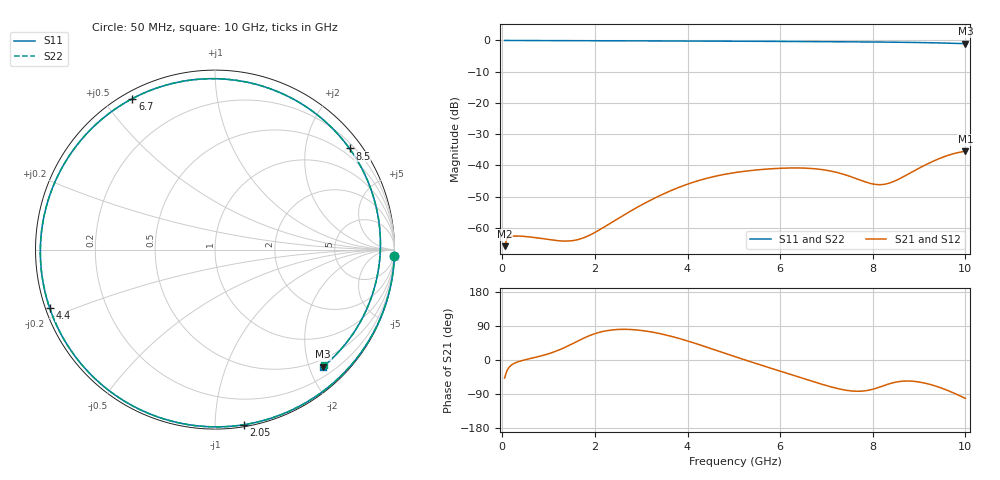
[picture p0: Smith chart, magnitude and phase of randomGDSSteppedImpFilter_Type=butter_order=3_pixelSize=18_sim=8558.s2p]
! freq	dB(S11)	phase(S11)	dB(S12)	phase(S12)
!  dB(S21)	phase(S21)	dB(S22)	phase(S22)
!S-par simulation data
#  GHz  S  DB  R 50
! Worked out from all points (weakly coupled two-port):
!   200 points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, 50 MHz to 10 GHz, reference 50 ohm
!   highest |S21| = -35.48 dB at 10 GHz (marker M1); lowest = -65.8 dB at 50 MHz (marker M2)
!   lowest |S11| = -1.0 dB at 10 GHz (marker M3), VSWR 16.81, Z = 18.2 - j112 ohm
!   |S11| at or under -10 dB: nowhere
!   |S22| runs from -1.0 to 0.0 dB; largest |S21 - S12| = 0
!   S11 on the Smith chart (normalised r, x): 50 MHz: 0, -55; 2.05 GHz: 0.01, -1.18; 4.4 GHz: 0.01, -0.17; 6.7 GHz: 0.03, +0.59; 8.5 GHz: 0.32, +2.96; 10 GHz: 0.36, -2.24
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0.05  -0.00 -2.1  -65.85 -47.6  -65.85 -47.6  -0.00 -2.1
0.1  -0.00 -4.1  -63.52 -28.0  -63.52 -28.0  -0.00 -4.1
0.25  -0.00 -10.3  -62.62 -9.3  -62.62 -9.3  -0.01 -10.3
1.05  -0.05 -42.6  -63.83 18.5  -63.83 18.5  -0.05 -42.6
1.45  -0.07 -58.2  -64.18 39.0  -64.18 39.0  -0.07 -58.2
1.75  -0.09 -69.6  -63.19 57.2  -63.19 57.2  -0.09 -69.6
2.05  -0.10 -80.7  -61.04 71.4  -61.04 71.4  -0.10 -80.7
2.7  -0.12 -103.8  -55.22 80.8  -55.22 80.8  -0.12 -103.8
3.4  -0.15 -127.6  -49.68 69.7  -49.68 69.7  -0.15 -127.6
4.4  -0.20 -160.4  -44.18 34.5  -44.18 34.5  -0.20 -160.4
5.05  -0.24 178.1  -42.24 7.9  -42.24 7.9  -0.24 178.2
5.85  -0.30 150.5  -41.03 -23.6  -41.03 -23.6  -0.30 150.7
6.7  -0.36 118.7  -41.01 -56.5  -41.01 -56.5  -0.36 118.8
7.15  -0.40 100.2  -41.98 -72.6  -41.98 -72.6  -0.40 100.5
7.55  -0.44 82.8  -43.73 -81.8  -43.73 -81.8  -0.44 83.0
8.05  -0.50 59.4  -46.06 -75.4  -46.06 -75.4  -0.50 59.8
8.35  -0.54 44.6  -45.69 -63.0  -45.69 -63.0  -0.54 45.0
8.5  -0.56 36.9  -44.82 -58.3  -44.82 -58.3  -0.56 37.4
8.9  -0.64 15.8  -41.68 -56.4  -41.68 -56.4  -0.64 16.4
9.25  -0.73 -3.4  -39.03 -64.9  -39.03 -64.9  -0.73 -2.9
9.6  -0.85 -23.4  -36.91 -79.5  -36.91 -79.5  -0.85 -22.8
10  -1.03 -47.2  -35.48 -101.2  -35.48 -101.2  -1.04 -46.6
